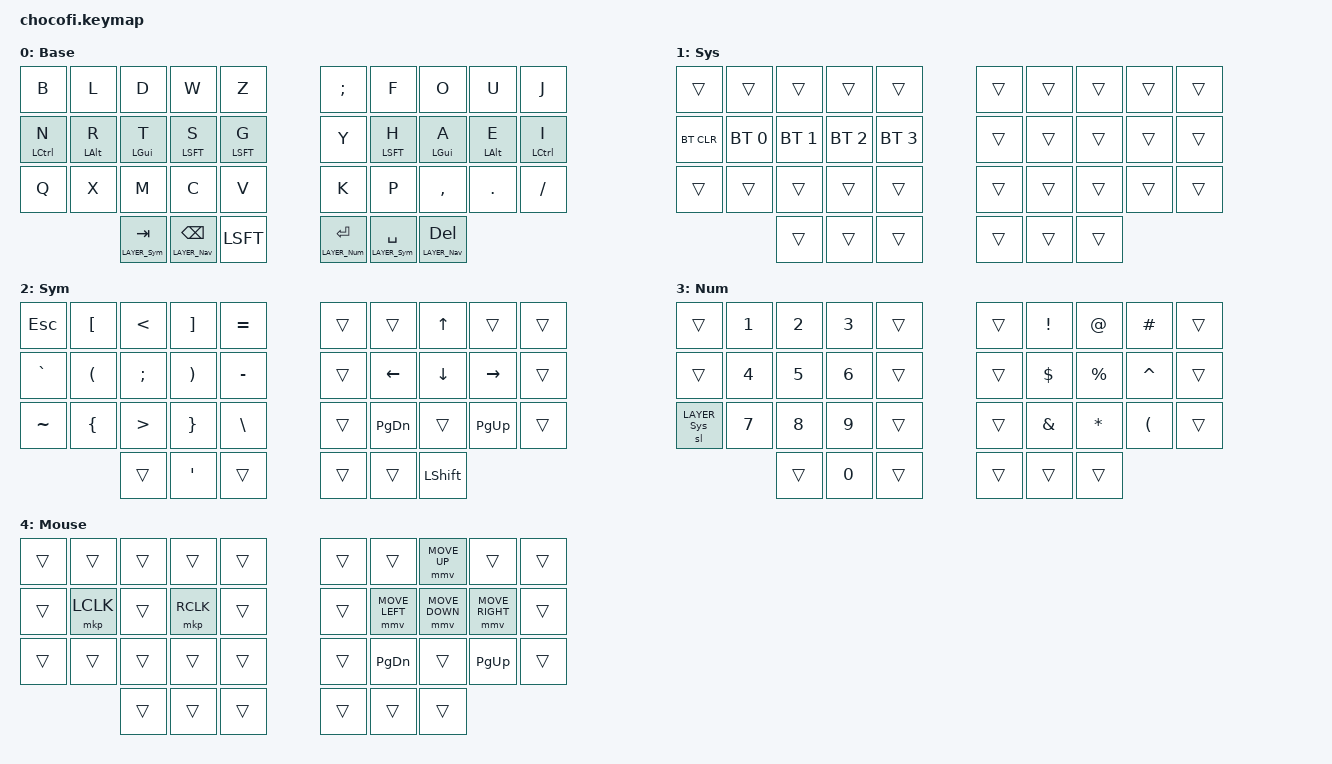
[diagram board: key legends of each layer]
/*
 * Copyright (c) 2020 The ZMK Contributors
 *
 * SPDX-License-Identifier: MIT
 */

#include <behaviors.dtsi>
#include <behaviors/mouse_keys.dtsi>
#include <dt-bindings/zmk/keys.h>
#include <dt-bindings/zmk/bt.h>
#include <dt-bindings/zmk/mouse.h> 

#define ZMK_MOUSE_DEFAULT_MOVE_VAL 2250
#define U_MOUSE_MOVE_EXPONENT 2
#define U_MOUSE_MOVE_TIME 650
#define U_MOUSE_MOVE_DELAY 0

#define LAYER_Sys 1
#define LAYER_Sym 2
#define LAYER_Num 3
#define LAYER_Nav 4 

/ {
behaviors {
   hm: homerow_mods {
       compatible = "zmk,behavior-hold-tap";
       label = "HOMEROW_MODS";
       #binding-cells = <2>;
       tapping-term-ms = <200>;
       quick-tap-ms = <0>;
            flavor = "balanced";
            bindings = <&kp>, <&kp>;
    };
    as: auto_shift {
        compatible = "zmk,behavior-hold-tap";
        label = "AUTO_SHIFT";
        #binding-cells = <2>;
        tapping_term_ms = <250>;
        quick_tap_ms = <0>;
        flavor = "tap-preferred";
        bindings = <&kp>, <&kp>;
    };
    mm_bspc_del: mm_backspace_delete {
        compatible = "zmk,behavior-mod-morph";
        label = "MM_BACKSPACE_DELETE";
        #binding-cells = <0>;
        bindings = <&kp BACKSPACE>, <&kp DELETE>;
        mods = <(MOD_LSFT|MOD_RSFT)>;
    };

    kp_sl: kp_sl {
  label = "keypress and sticky layer";
  compatible = "zmk,behavior-macro-two-param";
  #binding-cells = <2>;
  bindings
    = <&macro_param_1to1>
    , <&macro_tap &kp MACRO_PLACEHOLDER>
    , <&macro_param_2to1>
    , <&macro_tap &sl MACRO_PLACEHOLDER>
    ;
};
};
};
/ {
        keymap {
                compatible = "zmk,keymap";

                default_layer {
                        display-name = "Base";
                        bindings = <
   &kp B       &kp L      &kp D      &kp W      &kp Z          &kp SEMICOLON &kp F      &kp O      &kp U      &kp J
   &hm LCTRL N &hm LALT R &hm LGUI T &hm LSFT S &hm LSFT G     &kp Y   &hm LSFT H &hm LGUI A &hm LALT E &hm LCTRL I 
   &kp Q       &kp X      &kp M      &kp C      &kp V          &kp K   &kp P      &kp COMMA    &kp DOT    &kp FSLH  
   &lt LAYER_Sym TAB &lt LAYER_Nav BSPC &kp LSFT                          &lt LAYER_Num RET &lt LAYER_Sym SPC &lt LAYER_Nav DEL
                        >;
                };

                layer_sys {
                        display-name = "Sys";
                        bindings = <
   &trans &trans &trans &trans &trans                              &trans &trans  &trans     &trans   &trans
   &bt BT_CLR &bt BT_SEL 0 &bt BT_SEL 1 &bt BT_SEL 2 &bt BT_SEL 3  &trans &trans  &trans     &trans   &trans
   &trans &trans &trans &trans &trans                              &trans &trans  &trans     &trans   &trans
                  &trans &trans &trans                              &trans &trans &trans
                        >;
                };

                layer_sym {
                        display-name = "Sym";
                        bindings = <
   &kp ESC &kp LBKT &kp LT &kp RBKT &kp EQUAL                              &trans &trans  &kp UP     &trans   &trans
   &kp GRAVE &kp LPAR &kp SEMI &kp RPAR &kp MINUS                              &trans &kp LEFT  &kp DOWN     &kp RIGHT   &trans
   &kp TILDE &kp LBRC &kp GT &kp RBRC &kp BSLH                              &trans &kp PAGE_DOWN  &trans     &kp PAGE_UP   &trans
                  &trans &kp SQT &trans                              &trans &trans &kp LSHFT
                        >;
                };

                layer_num {
                        display-name = "Num";
                        bindings = <
   &trans &kp N1 &kp N2 &kp N3 &trans                              &trans &kp EXCL  &kp AT     &kp HASH   &trans
   &trans &kp N4 &kp N5 &kp N6 &trans                              &trans &kp DLLR  &kp PRCNT     &kp CARET   &trans
   &sl LAYER_Sys &kp N7 &kp N8 &kp N9 &trans                              &trans &kp AMPS  &kp STAR     &kp LPAR   &trans
                  &trans &kp N0 &trans                              &trans &trans &trans
                        >;
                };

                layer_mouse {
                        display-name = "Mouse";
                        bindings = <
   &trans &trans &trans &trans &trans                              &trans &trans  &mmv MOVE_UP     &trans   &trans
   &trans &mkp LCLK &trans &mkp RCLK &trans                              &trans &mmv MOVE_LEFT  &mmv MOVE_DOWN     &mmv MOVE_RIGHT   &trans
   &trans &trans &trans &trans &trans                              &trans &kp PAGE_DOWN  &trans     &kp PAGE_UP   &trans
                  &trans &trans &trans                              &trans &trans &trans
                        >;
                };
        };
};
